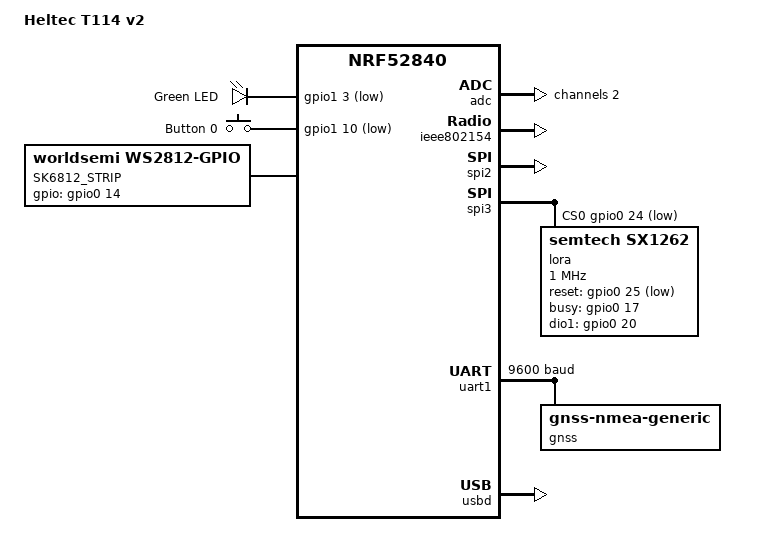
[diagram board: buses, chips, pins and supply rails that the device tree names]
/*
 * Copyright (c) 2024 MASSDRIVER EI (massdriver.space)
 * Copyright (c) 2018-2023 Nordic Semiconductor ASA
 * Copyright (c) 2017 Linaro Limited
 *
 * SPDX-License-Identifier: Apache-2.0
 */

/dts-v1/;
#include <nordic/nrf52840_qiaa.dtsi>
#include "heltec_t114_v2-pinctrl.dtsi"
#include <zephyr/dt-bindings/input/input-event-codes.h>
#include <zephyr/dt-bindings/led/led.h>
#include <zephyr/dt-bindings/display/panel.h>
#include <zephyr/dt-bindings/mipi_dbi/mipi_dbi.h>
#include <dt-bindings/lora/sx126x.h>

/ {
	compatible = "others,heltec-t114-v2";
	model = "Heltec T114 v2";

	chosen {
		zephyr,sram = &sram0;
		zephyr,flash = &flash0;
		zephyr,ieee802154 = &ieee802154;
	};

	leds {
		compatible = "gpio-leds";

		led4: led_4 {
			gpios = <&gpio1 3 GPIO_ACTIVE_LOW>;
			label = "Green LED";
		};
	};

	board_controls {
		vext_control: vext_control {
			gpios = <&gpio0 21 GPIO_ACTIVE_HIGH>;
			label = "VEXT Control";
		};

		adc_control: adc_control {
			gpios = <&gpio0 6 GPIO_ACTIVE_HIGH>;
			label = "ADC Control";
		};

		tft_en: tft_en {
			gpios = <&gpio0 3 GPIO_ACTIVE_LOW>;
			label = "TFT_EN - display enable";
		};

		tft_led_en: tft_led_en {
			gpios = <&gpio0 15 GPIO_ACTIVE_LOW>;
			label = "TFT_LED_EN - display backlight";
		};

		gnss_rst: gnss_rst {
			gpios = <&gpio1 6 GPIO_ACTIVE_LOW>;
			label = "gnss Reset";
		};

		gnss_wakeup: gnss_wakeup {
			gpios = <&gpio1 2 GPIO_ACTIVE_HIGH>;
			label = "gnss Wake Up";
		};
	};

	buttons {
		compatible = "gpio-keys";

		button0: button_0 {
			gpios = <&gpio1 10 GPIO_ACTIVE_LOW>;
			label = "Button 0";
			zephyr,code = <INPUT_KEY_0>;
		};
	};

	gnss_pps {
		gnss_pps_pin: gnss_pps {
			gpios = <&gpio1 4 GPIO_ACTIVE_HIGH>;
			label = "gnss PPS";
		};
	};

	led_strip: led_strip {
		compatible = "worldsemi,ws2812-gpio";
		label = "SK6812_STRIP";
		gpios = <&gpio0 14 GPIO_ACTIVE_HIGH>;
		chain-length = <2>;
		color-mapping = <LED_COLOR_ID_GREEN
				 LED_COLOR_ID_RED
				 LED_COLOR_ID_BLUE>;
		status = "okay";
	};

	aliases {
		led4 = &led4;
		led0 = &led4;
		led-strip = &led_strip;
		button0 = &button0;
		sw0 = &button0;
		mcuboot-led4 = &led4;
		watchdog0 = &wdt0;
		vext-control = &vext_control;
		adc-control = &adc_control;
		tft-en = &tft_en;
		tft-led-en = &tft_led_en;
		gnss-rst = &gnss_rst;
		gnss-wakeup = &gnss_wakeup;
	};
};

&adc {
	#address-cells = <1>;
	#size-cells = <0>;
	io-channels = <&adc 2>;
	status = "okay";

	channel@2 {
		reg = <2>;
		zephyr,gain = "ADC_GAIN_1_6";
		zephyr,reference = "ADC_REF_INTERNAL";
		zephyr,acquisition-time = <ADC_ACQ_TIME_DEFAULT>;
		zephyr,input-positive = <NRF_SAADC_AIN2>;
		zephyr,resolution = <12>;
	};
};

&gpiote {
	status = "okay";
};

&uicr {
	nfct-pins-as-gpios;
	gpio-as-nreset;
};

&gpio0 {
	status = "okay";
};

&gpio1 {
	status = "okay";
};

&led_strip {
	status = "okay";
};

&ieee802154 {
	status = "okay";
};

&spi2 {
	compatible = "nordic,nrf-spi";
	pinctrl-0 = <&tft_spi_pins>;
	pinctrl-1 = <&tft_spi_pins_sleep>;
	pinctrl-names = "default", "sleep";
	cs-gpios = <&gpio0 11 GPIO_ACTIVE_LOW>;
	status = "okay";
};

&spi3 {
	compatible = "nordic,nrf-spim";
	rx-delay-supported;
	rx-delay = <2>;
	pinctrl-0 = <&lora_spi_pins>;
	pinctrl-1 = <&lora_spi_pins_sleep>;
	pinctrl-names = "default", "sleep";
	cs-gpios = <&gpio0 24 GPIO_ACTIVE_LOW>;
	status = "okay";

	lora: sx1262@0 {
		compatible = "semtech,sx1262";
		reg = <0>;
		spi-max-frequency = <1000000>;
		reset-gpios = <&gpio0 25 GPIO_ACTIVE_LOW>;
		busy-gpios = <&gpio0 17 GPIO_ACTIVE_HIGH>;
		dio1-gpios = <&gpio0 20 GPIO_ACTIVE_HIGH>;
		dio2-tx-enable;
		dio3-tcxo-voltage = <SX126X_DIO3_TCXO_1V8>;
		tcxo-power-startup-delay-ms = <5>;
		status = "okay";
	};
};

&uart1 {
	compatible = "nordic,nrf-uarte";
	current-speed = <9600>;
	pinctrl-0 = <&gnss_uart_pins>;
	pinctrl-1 = <&gnss_uart_pins_sleep>;
	pinctrl-names = "default", "sleep";
	status = "okay";

	gnss: gnss-nmea-generic {
		compatible = "gnss-nmea-generic";
		status = "okay";
	};
};

zephyr_udc0: &usbd {
	status = "okay";
};
#include <../boards/common/usb/cdc_acm_serial.dtsi>
